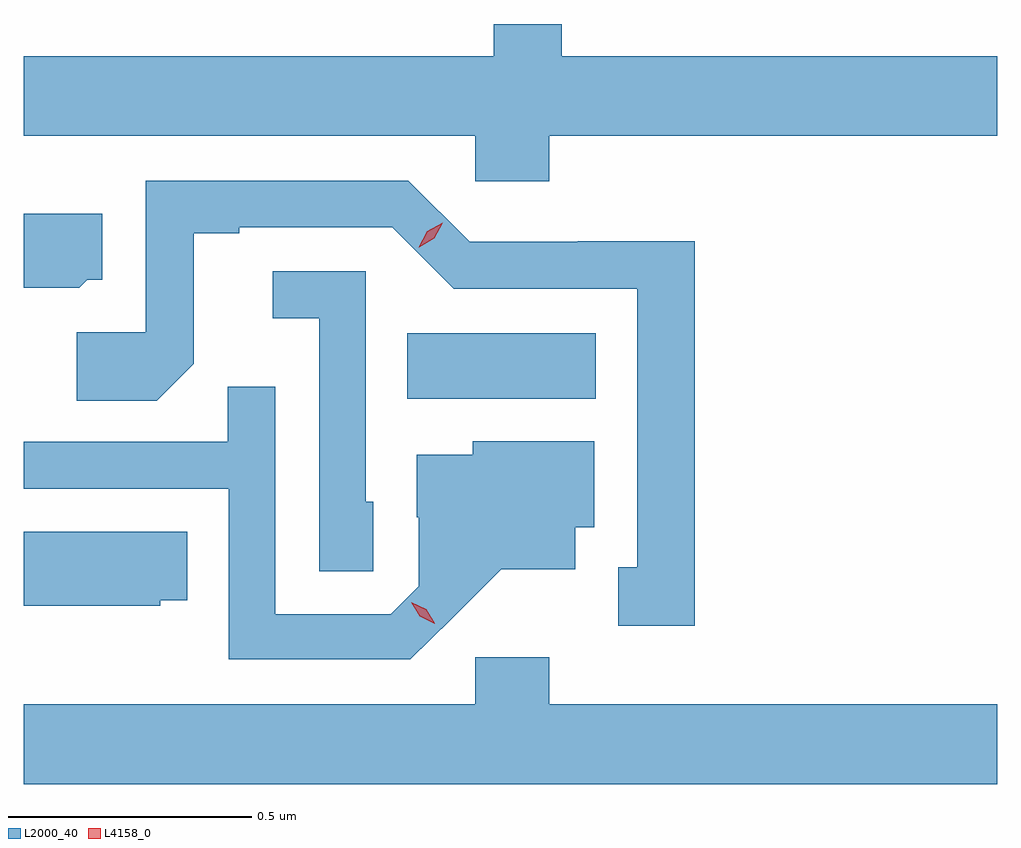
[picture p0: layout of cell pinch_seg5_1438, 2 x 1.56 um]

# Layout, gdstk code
import gdstk
lib = gdstk.Library(unit=1e-6, precision=1e-09)
def R(c, l, rs):  # rectangles x0, y0, x1, y1
    for r in rs: c.add(gdstk.rectangle(r[:2], r[2:], *l))
def P(c, l, *ps):  # polygons
    for p in ps: c.add(gdstk.Polygon(p, *l))
L2000_40 = (2000, 40)
L4158_0 = (4158, 0)

pinch_seg5_1438 = lib.new_cell('pinch_seg5_1438')
R(pinch_seg5_1438, L2000_40, [(156.016,906.836,156.403,906.97)])
P(pinch_seg5_1438, L2000_40, [(156.308,907.376),(157.228,907.376),(157.228,907.54),(156.333,907.54),(156.333,907.606),(156.194,907.606),(156.194,907.54),(155.228,907.54),(155.228,907.376),(156.156,907.376),(156.156,907.283),(156.308,907.283)],
  [(156.607,907.16),(156.366,907.16),(156.366,907.158),(156.144,907.158),(156.018,907.284),(155.478,907.284),(155.478,906.972),(155.337,906.972),(155.337,906.832),(155.501,906.832),(155.577,906.908),(155.577,907.176),(155.671,907.176),(155.671,907.188),(155.985,907.188),(156.111,907.062),(156.488,907.062),(156.488,906.489),(156.449,906.489),(156.449,906.369),(156.607,906.369)],
  [(155.358,907.08),(155.389,907.08),(155.389,907.216),(155.228,907.216),(155.228,907.064),(155.342,907.064)],
  [(155.946,906.624),(155.931,906.624),(155.931,907.098),(155.739,907.098),(155.739,907.001),(155.835,907.001),(155.835,906.481),(155.946,906.481)],
  [(156.106,906.383),(156.209,906.485),(156.361,906.485),(156.361,906.572),(156.4,906.572),(156.4,906.748),(156.15,906.748),(156.15,906.721),(156.035,906.721),(156.035,906.592),(156.039,906.592),(156.039,906.45),(155.982,906.393),(155.745,906.393),(155.745,906.86),(155.647,906.86),(155.647,906.747),(155.228,906.747),(155.228,906.651),(155.649,906.651),(155.649,906.3),(156.022,906.3)],
  [(155.508,906.422),(155.564,906.422),(155.564,906.562),(155.228,906.562),(155.228,906.41),(155.508,906.41)],
  [(157.228,906.208),(156.308,906.208),(156.308,906.304),(156.156,906.304),(156.156,906.208),(155.228,906.208),(155.228,906.044),(157.228,906.044)])
P(pinch_seg5_1438, L4158_0, [(156.039,907.147),(156.039,907.147),(156.057,907.18),(156.089,907.198),(156.089,907.198),(156.089,907.198),(156.071,907.166),(156.04,907.147)],
  [(156.072,906.373),(156.041,906.389),(156.024,906.418),(156.024,906.418),(156.024,906.418),(156.055,906.403),(156.072,906.374),(156.072,906.373)])

lib.write_gds('pinch_seg5_1438.gds')
